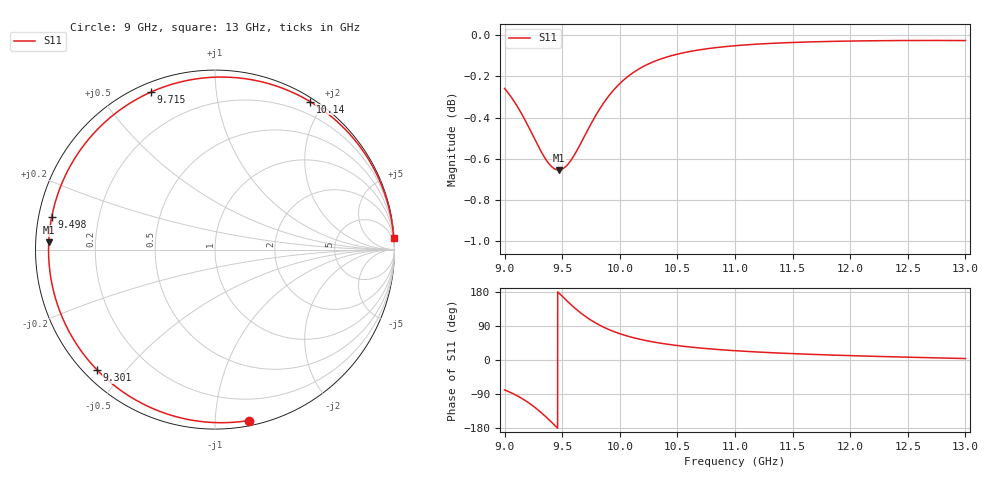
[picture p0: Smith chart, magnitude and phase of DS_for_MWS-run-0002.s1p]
! TOUCHSTONE file generated by CST DESIGN STUDIO
! Date and time: Wed Feb  5 13:46:30 2025
! Project name: C:\Work\MatlabApps\UnitCellOptimizationMatlab\CST\unitcell.cst
! Tree item: Tasks\Sweep1\SPara1\S-Parameters
! Header version: 2024
! Port assignment regex: !\s*Touchstone port\s*([0-9]+)\s*=\s*(CST MWS port|CST DES external port|CST DES block port)\s*(.+)\s* \(\"(.*)\"\)(\s*mode\s*([0-9]+))?.*
! Touchstone port assignment:
! Touchstone port 1 = CST DES external port 1 ("")
# GHz S MA R 50
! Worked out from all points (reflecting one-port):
!   4001 points, 9 GHz to 13 GHz, reference 50 ohm
!   lowest |S11| = -0.7 dB at 9.469 GHz (marker M1), VSWR 26.54, Z = 1.88 + j1.12 ohm
!   phase of S11 starts at -79 deg and turns -277 deg over the sweep
!   S11 on the Smith chart (normalised r, x): 9 GHz: 0.04, -1.21; 9.301 GHz: 0.04, -0.42; 9.498 GHz: 0.04, +0.10; 9.715 GHz: 0.04, +0.67; 10.14 GHz: 0.04, +1.83; 13 GHz: 1, +30
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9  0.9706 -78.9
9.073  0.9645 -88.8
9.17  0.9545 -105.2
9.238  0.9464 -119.3
9.301  0.9388 -134.5
9.345  0.934 -146.2
9.392  0.9301 -159.6
9.431  0.9281 -171.1
9.469  0.9274 177.4
9.498  0.9278 168.7
9.5  0.9278 168.1
9.551  0.9304 153.2
9.61  0.9356 137.0
9.662  0.9414 124.0
9.715  0.9476 112.1
9.771  0.9539 101.1
9.834  0.9604 90.5
9.915  0.9675 79.1
10  0.9733 69.4
10.139  0.9803 57.3
10.302  0.9855 47.0
10.5  0.9895 38.1
10.722  0.9922 31.0
11  0.9942 24.5
11.5  0.996 16.8
12  0.9968 11.5
12.5  0.9971 7.4
13  0.997 3.9
